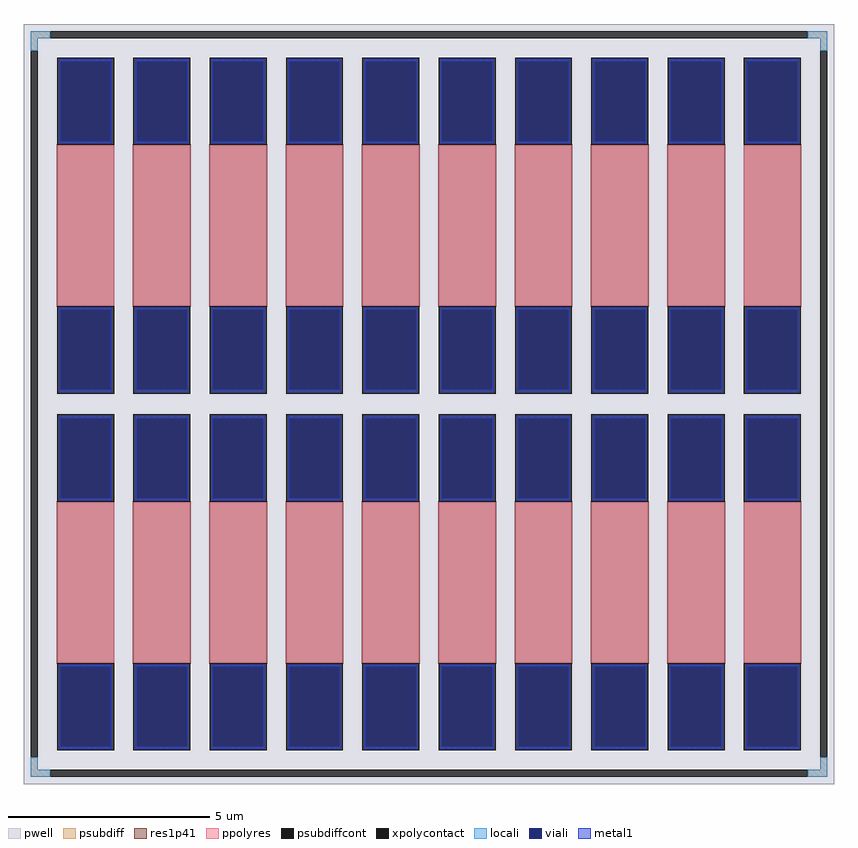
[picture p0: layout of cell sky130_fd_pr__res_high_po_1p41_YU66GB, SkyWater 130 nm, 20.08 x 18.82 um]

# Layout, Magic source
magic
tech sky130A
magscale 1 2
<< pwell >>
rect -2008 -1882 2008 1882
<< psubdiff >>
rect -1972 1812 -1876 1846
rect 1876 1812 1972 1846
rect -1972 1750 -1938 1812
rect 1938 1750 1972 1812
rect -1972 -1812 -1938 -1750
rect 1938 -1812 1972 -1750
rect -1972 -1846 -1876 -1812
rect 1876 -1846 1972 -1812
<< psubdiffcont >>
rect -1876 1812 1876 1846
rect -1972 -1750 -1938 1750
rect 1938 -1750 1972 1750
rect -1876 -1846 1876 -1812
<< xpolycontact >>
rect -1842 1284 -1560 1716
rect -1842 52 -1560 484
rect -1464 1284 -1182 1716
rect -1464 52 -1182 484
rect -1086 1284 -804 1716
rect -1086 52 -804 484
rect -708 1284 -426 1716
rect -708 52 -426 484
rect -330 1284 -48 1716
rect -330 52 -48 484
rect 48 1284 330 1716
rect 48 52 330 484
rect 426 1284 708 1716
rect 426 52 708 484
rect 804 1284 1086 1716
rect 804 52 1086 484
rect 1182 1284 1464 1716
rect 1182 52 1464 484
rect 1560 1284 1842 1716
rect 1560 52 1842 484
rect -1842 -484 -1560 -52
rect -1842 -1716 -1560 -1284
rect -1464 -484 -1182 -52
rect -1464 -1716 -1182 -1284
rect -1086 -484 -804 -52
rect -1086 -1716 -804 -1284
rect -708 -484 -426 -52
rect -708 -1716 -426 -1284
rect -330 -484 -48 -52
rect -330 -1716 -48 -1284
rect 48 -484 330 -52
rect 48 -1716 330 -1284
rect 426 -484 708 -52
rect 426 -1716 708 -1284
rect 804 -484 1086 -52
rect 804 -1716 1086 -1284
rect 1182 -484 1464 -52
rect 1182 -1716 1464 -1284
rect 1560 -484 1842 -52
rect 1560 -1716 1842 -1284
<< ppolyres >>
rect -1842 484 -1560 1284
rect -1464 484 -1182 1284
rect -1086 484 -804 1284
rect -708 484 -426 1284
rect -330 484 -48 1284
rect 48 484 330 1284
rect 426 484 708 1284
rect 804 484 1086 1284
rect 1182 484 1464 1284
rect 1560 484 1842 1284
rect -1842 -1284 -1560 -484
rect -1464 -1284 -1182 -484
rect -1086 -1284 -804 -484
rect -708 -1284 -426 -484
rect -330 -1284 -48 -484
rect 48 -1284 330 -484
rect 426 -1284 708 -484
rect 804 -1284 1086 -484
rect 1182 -1284 1464 -484
rect 1560 -1284 1842 -484
<< locali >>
rect -1972 1812 -1876 1846
rect 1876 1812 1972 1846
rect -1972 1750 -1938 1812
rect 1938 1750 1972 1812
rect -1972 -1812 -1938 -1750
rect 1938 -1812 1972 -1750
rect -1972 -1846 -1876 -1812
rect 1876 -1846 1972 -1812
<< viali >>
rect -1826 1301 -1576 1698
rect -1448 1301 -1198 1698
rect -1070 1301 -820 1698
rect -692 1301 -442 1698
rect -314 1301 -64 1698
rect 64 1301 314 1698
rect 442 1301 692 1698
rect 820 1301 1070 1698
rect 1198 1301 1448 1698
rect 1576 1301 1826 1698
rect -1826 70 -1576 467
rect -1448 70 -1198 467
rect -1070 70 -820 467
rect -692 70 -442 467
rect -314 70 -64 467
rect 64 70 314 467
rect 442 70 692 467
rect 820 70 1070 467
rect 1198 70 1448 467
rect 1576 70 1826 467
rect -1826 -467 -1576 -70
rect -1448 -467 -1198 -70
rect -1070 -467 -820 -70
rect -692 -467 -442 -70
rect -314 -467 -64 -70
rect 64 -467 314 -70
rect 442 -467 692 -70
rect 820 -467 1070 -70
rect 1198 -467 1448 -70
rect 1576 -467 1826 -70
rect -1826 -1698 -1576 -1301
rect -1448 -1698 -1198 -1301
rect -1070 -1698 -820 -1301
rect -692 -1698 -442 -1301
rect -314 -1698 -64 -1301
rect 64 -1698 314 -1301
rect 442 -1698 692 -1301
rect 820 -1698 1070 -1301
rect 1198 -1698 1448 -1301
rect 1576 -1698 1826 -1301
<< metal1 >>
rect -1832 1698 -1570 1710
rect -1832 1301 -1826 1698
rect -1576 1301 -1570 1698
rect -1832 1289 -1570 1301
rect -1454 1698 -1192 1710
rect -1454 1301 -1448 1698
rect -1198 1301 -1192 1698
rect -1454 1289 -1192 1301
rect -1076 1698 -814 1710
rect -1076 1301 -1070 1698
rect -820 1301 -814 1698
rect -1076 1289 -814 1301
rect -698 1698 -436 1710
rect -698 1301 -692 1698
rect -442 1301 -436 1698
rect -698 1289 -436 1301
rect -320 1698 -58 1710
rect -320 1301 -314 1698
rect -64 1301 -58 1698
rect -320 1289 -58 1301
rect 58 1698 320 1710
rect 58 1301 64 1698
rect 314 1301 320 1698
rect 58 1289 320 1301
rect 436 1698 698 1710
rect 436 1301 442 1698
rect 692 1301 698 1698
rect 436 1289 698 1301
rect 814 1698 1076 1710
rect 814 1301 820 1698
rect 1070 1301 1076 1698
rect 814 1289 1076 1301
rect 1192 1698 1454 1710
rect 1192 1301 1198 1698
rect 1448 1301 1454 1698
rect 1192 1289 1454 1301
rect 1570 1698 1832 1710
rect 1570 1301 1576 1698
rect 1826 1301 1832 1698
rect 1570 1289 1832 1301
rect -1832 467 -1570 479
rect -1832 70 -1826 467
rect -1576 70 -1570 467
rect -1832 58 -1570 70
rect -1454 467 -1192 479
rect -1454 70 -1448 467
rect -1198 70 -1192 467
rect -1454 58 -1192 70
rect -1076 467 -814 479
rect -1076 70 -1070 467
rect -820 70 -814 467
rect -1076 58 -814 70
rect -698 467 -436 479
rect -698 70 -692 467
rect -442 70 -436 467
rect -698 58 -436 70
rect -320 467 -58 479
rect -320 70 -314 467
rect -64 70 -58 467
rect -320 58 -58 70
rect 58 467 320 479
rect 58 70 64 467
rect 314 70 320 467
rect 58 58 320 70
rect 436 467 698 479
rect 436 70 442 467
rect 692 70 698 467
rect 436 58 698 70
rect 814 467 1076 479
rect 814 70 820 467
rect 1070 70 1076 467
rect 814 58 1076 70
rect 1192 467 1454 479
rect 1192 70 1198 467
rect 1448 70 1454 467
rect 1192 58 1454 70
rect 1570 467 1832 479
rect 1570 70 1576 467
rect 1826 70 1832 467
rect 1570 58 1832 70
rect -1832 -70 -1570 -58
rect -1832 -467 -1826 -70
rect -1576 -467 -1570 -70
rect -1832 -479 -1570 -467
rect -1454 -70 -1192 -58
rect -1454 -467 -1448 -70
rect -1198 -467 -1192 -70
rect -1454 -479 -1192 -467
rect -1076 -70 -814 -58
rect -1076 -467 -1070 -70
rect -820 -467 -814 -70
rect -1076 -479 -814 -467
rect -698 -70 -436 -58
rect -698 -467 -692 -70
rect -442 -467 -436 -70
rect -698 -479 -436 -467
rect -320 -70 -58 -58
rect -320 -467 -314 -70
rect -64 -467 -58 -70
rect -320 -479 -58 -467
rect 58 -70 320 -58
rect 58 -467 64 -70
rect 314 -467 320 -70
rect 58 -479 320 -467
rect 436 -70 698 -58
rect 436 -467 442 -70
rect 692 -467 698 -70
rect 436 -479 698 -467
rect 814 -70 1076 -58
rect 814 -467 820 -70
rect 1070 -467 1076 -70
rect 814 -479 1076 -467
rect 1192 -70 1454 -58
rect 1192 -467 1198 -70
rect 1448 -467 1454 -70
rect 1192 -479 1454 -467
rect 1570 -70 1832 -58
rect 1570 -467 1576 -70
rect 1826 -467 1832 -70
rect 1570 -479 1832 -467
rect -1832 -1301 -1570 -1289
rect -1832 -1698 -1826 -1301
rect -1576 -1698 -1570 -1301
rect -1832 -1710 -1570 -1698
rect -1454 -1301 -1192 -1289
rect -1454 -1698 -1448 -1301
rect -1198 -1698 -1192 -1301
rect -1454 -1710 -1192 -1698
rect -1076 -1301 -814 -1289
rect -1076 -1698 -1070 -1301
rect -820 -1698 -814 -1301
rect -1076 -1710 -814 -1698
rect -698 -1301 -436 -1289
rect -698 -1698 -692 -1301
rect -442 -1698 -436 -1301
rect -698 -1710 -436 -1698
rect -320 -1301 -58 -1289
rect -320 -1698 -314 -1301
rect -64 -1698 -58 -1301
rect -320 -1710 -58 -1698
rect 58 -1301 320 -1289
rect 58 -1698 64 -1301
rect 314 -1698 320 -1301
rect 58 -1710 320 -1698
rect 436 -1301 698 -1289
rect 436 -1698 442 -1301
rect 692 -1698 698 -1301
rect 436 -1710 698 -1698
rect 814 -1301 1076 -1289
rect 814 -1698 820 -1301
rect 1070 -1698 1076 -1301
rect 814 -1710 1076 -1698
rect 1192 -1301 1454 -1289
rect 1192 -1698 1198 -1301
rect 1448 -1698 1454 -1301
rect 1192 -1710 1454 -1698
rect 1570 -1301 1832 -1289
rect 1570 -1698 1576 -1301
rect 1826 -1698 1832 -1301
rect 1570 -1710 1832 -1698
<< res1p41 >>
rect -1844 482 -1558 1286
rect -1466 482 -1180 1286
rect -1088 482 -802 1286
rect -710 482 -424 1286
rect -332 482 -46 1286
rect 46 482 332 1286
rect 424 482 710 1286
rect 802 482 1088 1286
rect 1180 482 1466 1286
rect 1558 482 1844 1286
rect -1844 -1286 -1558 -482
rect -1466 -1286 -1180 -482
rect -1088 -1286 -802 -482
rect -710 -1286 -424 -482
rect -332 -1286 -46 -482
rect 46 -1286 332 -482
rect 424 -1286 710 -482
rect 802 -1286 1088 -482
rect 1180 -1286 1466 -482
rect 1558 -1286 1844 -482
<< properties >>
string FIXED_BBOX -1955 -1829 1955 1829
string gencell sky130_fd_pr__res_high_po_1p41
string library sky130
string parameters w 1.41 l 4.0 m 2 nx 10 wmin 1.410 lmin 0.50 rho 319.8 val 1.183k dummy 0 dw 0.0 term 194.82 sterm 0.0 caplen 0 guard 1 glc 1 grc 1 gtc 1 gbc 1 compatible {sky130_fd_pr__res_high_po_0p35  sky130_fd_pr__res_high_po_0p69 sky130_fd_pr__res_high_po_1p41  sky130_fd_pr__res_high_po_2p85 sky130_fd_pr__res_high_po_5p73} snake 0 full_metal 1 wmax 1.410 n_guard 0 hv_guard 0 vias 1 viagb 0 viagt 0 viagl 0 viagr 0
<< end >>
